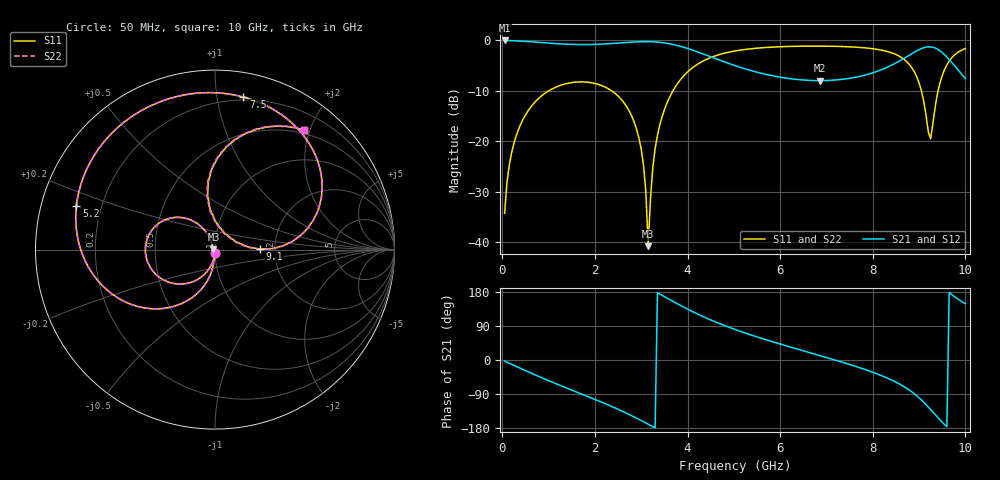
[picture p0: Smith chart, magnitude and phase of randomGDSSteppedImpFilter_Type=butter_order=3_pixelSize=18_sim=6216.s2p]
! freq	dB(S11)	phase(S11)	dB(S12)	phase(S12)
!  dB(S21)	phase(S21)	dB(S22)	phase(S22)
!S-par simulation data
#  GHz  S  DB  R 50
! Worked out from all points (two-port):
!   200 points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, 50 MHz to 10 GHz, reference 50 ohm
!   highest |S21| = 0.00 dB at 50 MHz (marker M1); lowest = -8.0 dB at 6.85 GHz (marker M2)
!   |S21| within 3 dB of the highest: start of sweep to 4.431 GHz; 8.775 GHz to 9.569 GHz (793.6 MHz wide, 8.65 % of centre)
!   lowest |S11| = -40.8 dB at 3.15 GHz (marker M3), VSWR 1.02, Z = 49.1 + j0.132 ohm
!   |S11| at or under -10 dB: start of sweep to 1.001 GHz; 2.362 GHz to 3.685 GHz (1.323 GHz wide, 43.8 % of centre); 9.05 GHz to 9.411 GHz (360.3 MHz wide, 3.9 % of centre)
!   |S22| runs from -40.2 to -1.1 dB; largest |S21 - S12| = 0
!   S11 on the Smith chart (normalised r, x): 50 MHz: 1.00, -0.04; 5.2 GHz: 0.11, +0.15; 7.5 GHz: 0.18, +1.19; 9.1 GHz: 1.67, +0.01; 10 GHz: 0.44, +1.91
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0.05  -34.28 -92.8  -0.00 -2.9  -0.00 -2.9  -34.28 -92.8
0.2  -22.34 -101.7  -0.04 -11.4  -0.04 -11.4  -22.33 -101.7
0.5  -14.79 -118.5  -0.18 -28.0  -0.18 -28.0  -14.79 -118.5
1.75  -8.23 178.0  -0.82 -91.6  -0.82 -91.6  -8.23 178.1
2.85  -16.25 121.5  -0.31 -150.4  -0.31 -150.4  -16.25 121.7
3.05  -24.78 114.4  -0.24 -162.9  -0.24 -162.9  -24.77 115.0
3.1  -30.02 118.3  -0.24 -166.1  -0.24 -166.1  -29.96 119.5
3.15  -40.82 171.5  -0.24 -169.4  -0.24 -169.4  -40.23 172.7
3.25  -25.19 -96.0  -0.27 -176.0  -0.27 -176.0  -25.18 -96.7
3.4  -16.81 -100.5  -0.37 174.0  -0.37 174.0  -16.81 -100.7
4.1  -5.47 -143.3  -1.89 128.2  -1.89 128.2  -5.47 -143.4
5.05  -2.05 168.9  -5.07 79.5  -5.07 79.5  -2.05 168.9
5.2  -1.84 162.7  -5.51 73.1  -5.51 73.1  -1.84 162.7
6.7  -1.12 108.0  -7.95 17.3  -7.95 17.3  -1.12 108.0
6.85  -1.12 102.8  -7.97 12.0  -7.97 12.0  -1.12 102.8
7.5  -1.26 79.5  -7.51 -11.8  -7.51 -11.8  -1.26 79.5
8.35  -2.29 43.3  -5.16 -49.6  -5.16 -49.6  -2.29 43.3
8.75  -4.37 19.9  -3.14 -76.0  -3.14 -76.0  -4.37 19.8
9.1  -12.05 0.7  -1.45 -111.3  -1.45 -111.3  -12.09 0.2
9.25  -19.50 59.2  -1.27 -130.9  -1.27 -130.9  -19.74 59.6
9.5  -6.95 92.2  -2.41 -164.3  -2.41 -164.3  -6.96 92.7
10  -1.61 53.4  -7.58 148.5  -7.58 148.5  -1.61 53.6
